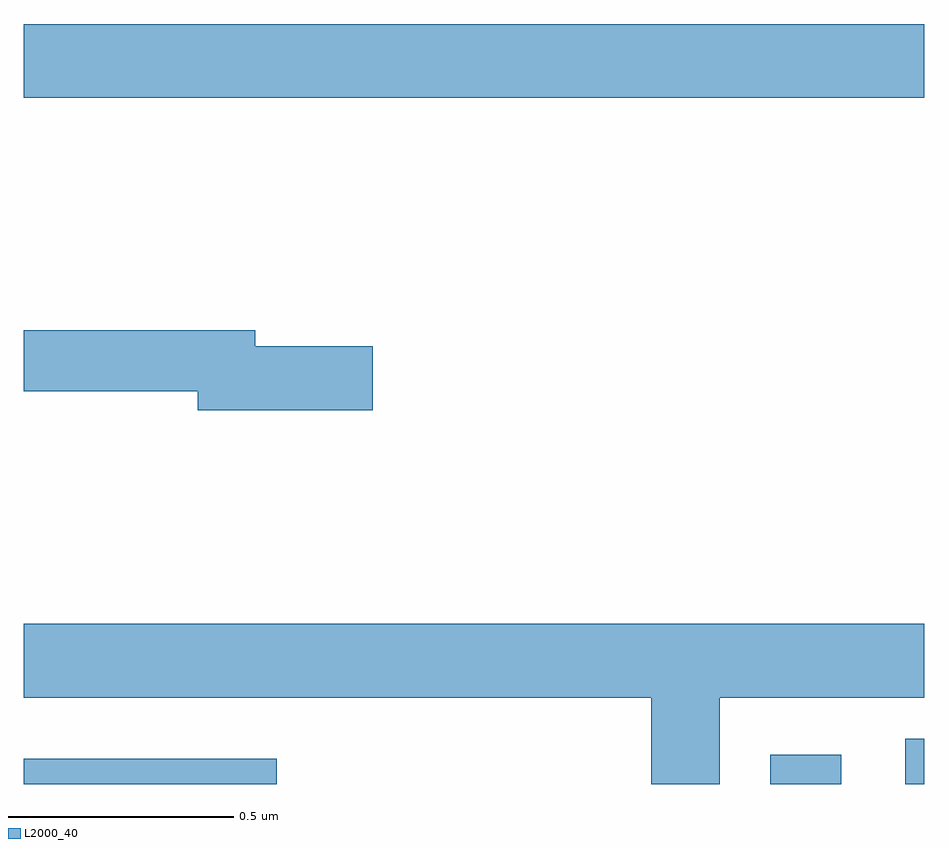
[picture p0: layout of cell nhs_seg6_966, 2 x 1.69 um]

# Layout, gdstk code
import gdstk
lib = gdstk.Library(unit=1e-6, precision=1e-09)
def R(c, l, rs):  # rectangles x0, y0, x1, y1
    for r in rs: c.add(gdstk.rectangle(r[:2], r[2:], *l))
def P(c, l, *ps):  # polygons
    for p in ps: c.add(gdstk.Polygon(p, *l))
L2000_40 = (2000, 40)

nhs_seg6_966 = lib.new_cell('nhs_seg6_966')
R(nhs_seg6_966, L2000_40, [(123,924.5,123.562,924.556), (124.658,924.5,124.816,924.565), (124.958,924.5,125,924.601), (123,926.024,125,926.188)])
P(nhs_seg6_966, L2000_40, [(123.775,925.472),(123.514,925.472),(123.514,925.508),(123,925.508),(123,925.372),(123.386,925.372),(123.386,925.33),(123.775,925.33)],
  [(124.546,924.692),(125,924.692),(125,924.856),(123,924.856),(123,924.692),(124.394,924.692),(124.394,924.5),(124.546,924.5)])

lib.write_gds('nhs_seg6_966.gds')
